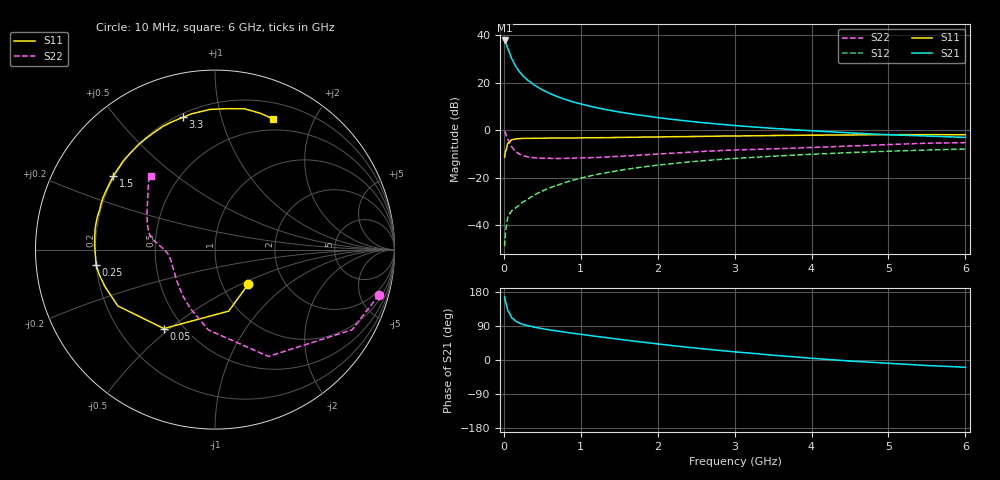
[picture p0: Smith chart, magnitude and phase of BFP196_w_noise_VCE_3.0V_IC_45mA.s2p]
! Infineon Technologies  Discrete & RF Semiconductors
! BFP196
! VCE =  3.0 V,  IC =  45 mA
! Common Emitter S-Parameters:  Jan 2017
# GHz  S  MA  R  50
!  f  S11  S21  S12  S22
! GHz  MAG  ANG  MAG  ANG  MAG  ANG  MAG  ANG
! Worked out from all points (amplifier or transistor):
!   77 points, 10 MHz to 6 GHz, reference 50 ohm
!   highest |S21| = 37.7 dB at 10 MHz (marker M1)
!   |S21| within 3 dB of that: start of sweep to 46.18 MHz
!   unconditionally stable (mu >= 1): 549.7 MHz to 2.539 GHz
!   at 130 MHz: K = 0.61, MSG = 30.8 dB, |S12| = -33.3 dB
!   at 2.2 GHz: K = 1.01, MAG = 8.6 dB, |S12| = -14.1 dB
!   at 6 GHz: K = 0.96, MSG = 2.4 dB, |S12| = -8.0 dB
!   lowest NFmin = 1.39 dB at 450 MHz
!   S11 on the Smith chart (normalised r, x): 10 MHz: 1.32, -0.55; 50 MHz: 0.39, -0.48; 250 MHz: 0.20, -0.06; 1.5 GHz: 0.19, +0.31; 3.3 GHz: 0.22, +0.76; 6 GHz: 0.37, +1.48
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0.01  0.2679 -46.4  76.74 167.0  0.0036 81.3  0.9473 -15.5
0.02  0.3509 -77.4  72.41 155.4  0.0066 76.4  0.8848 -30.3
0.05  0.5241 -122.9  52.35 130.5  0.0143 55.8  0.6657 -63.4
0.1  0.6258 -149.9  32.09 111.6  0.0198 51.1  0.4493 -94.7
0.15  0.647 -161.5  22.37 103.1  0.0228 52.5  0.3563 -112.6
0.2  0.6604 -168.0  17.08 97.7  0.0263 56.7  0.3133 -125.1
0.25  0.6674 -172.8  13.77 93.7  0.0309 58.5  0.2884 -133.8
0.3  0.6668 -176.3  11.53 91.0  0.034 60.3  0.2747 -140.8
0.4  0.6707 178.5  8.723 86.3  0.0432 64.1  0.2603 -150.0
0.5  0.6737 174.1  6.99 82.6  0.0521 64.6  0.2549 -156.4
0.6  0.6775 170.5  5.857 79.2  0.0612 65.3  0.2539 -161.2
0.7  0.6791 167.3  5.02 76.4  0.0695 65.9  0.2521 -164.8
0.9  0.6796 161.0  3.911 70.4  0.0882 65.1  0.256 -169.9
1.1  0.6874 155.2  3.23 65.1  0.1065 63.5  0.2615 -173.6
1.5  0.6991 144.2  2.395 54.7  0.1407 58.6  0.2802 -179.4
2.1  0.719 128.5  1.746 40.2  0.1897 50.6  0.3194 174.4
2.6  0.7366 117.0  1.423 29.2  0.2268 43.8  0.3558 170.0
3.1  0.7526 107.2  1.211 19.9  0.2579 37.0  0.3848 164.4
3.3  0.7586 103.5  1.145 16.4  0.2696 34.5  0.3935 161.8
4.1  0.782 90.6  0.945 3.1  0.3143 24.8  0.4348 150.5
5.1  0.8005 76.8  0.786 -9.9  0.3622 13.1  0.5019 138.0
6  0.797 65.9  0.701 -19.3  0.3993 3.1  0.5433 131.2
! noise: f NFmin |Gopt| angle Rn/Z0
0.45  1.39  0.37  -180  0.06
0.9  1.55  0.46  -166  0.07
1.9  2.36  0.68  -133  0.3
2.4  2.76  0.7  -120  0.65
